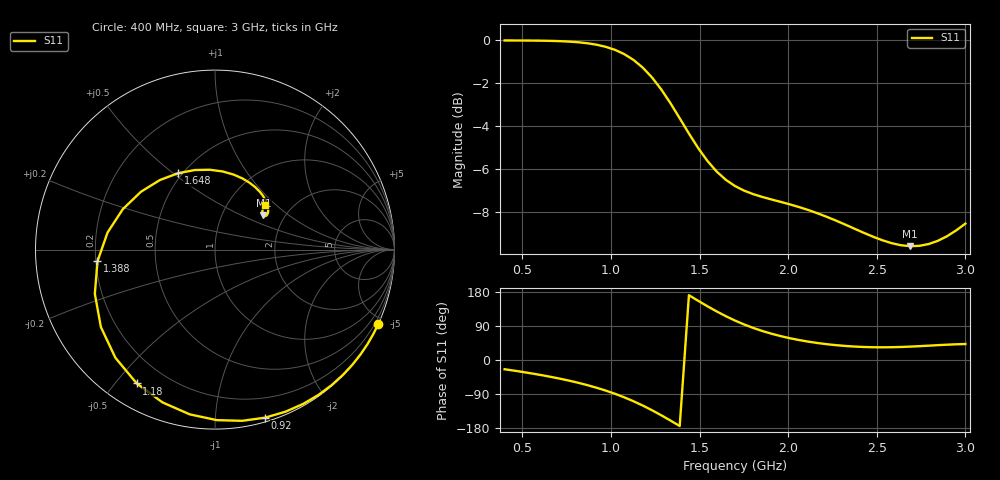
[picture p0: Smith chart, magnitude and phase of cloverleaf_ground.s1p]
! S-parameter export from POSTFEKO
! Filename: cloverleaf_ground_plane
! Creation date: 2020-01-06 15:27:49
# Hz S MA R  1.0000000E+2
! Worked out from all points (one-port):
!   51 points, 400 MHz to 3 GHz, reference 100 ohm
!   lowest |S11| = -9.6 dB at 2.688 GHz (marker M1), VSWR 1.99, Z = 156 + j67.1 ohm
!   |S11| at or under -10 dB: nowhere
!   S11 on the Smith chart (normalised r, x): 400 MHz: 0.00, -4.63; 920 MHz: 0.03, -1.34; 1.18 GHz: 0.10, -0.57; 1.388 GHz: 0.21, -0.05; 1.648 GHz: 0.48, +0.52; 3 GHz: 1.47, +0.86
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4e8  0.9999 -24.4
6.08e8  0.9987 -39.9
7.64e8  0.9938 -54.5
8.68e8  0.9849 -66.5
9.2e8  0.9771 -73.3
1.024e9  0.9502 -89.4
1.076e9  0.9287 -98.7
1.128e9  0.9001 -109.0
1.18e9  0.8637 -120.3
1.232e9  0.8193 -132.6
1.284e9  0.7683 -145.8
1.336e9  0.7134 -159.8
1.388e9  0.6581 -174.3
1.44e9  0.6062 171.0
1.492e9  0.5607 156.3
1.544e9  0.5234 142.0
1.596e9  0.4943 128.3
1.648e9  0.4727 115.6
1.7e9  0.4571 104.1
1.856e9  0.4308 76.3
1.96e9  0.4195 62.8
2.064e9  0.4079 52.4
2.22e9  0.3871 41.6
2.376e9  0.3631 35.4
2.532e9  0.3414 33.5
2.688e9  0.3308 35.3
2.844e9  0.3404 39.1
3e9  0.3735 42.2
